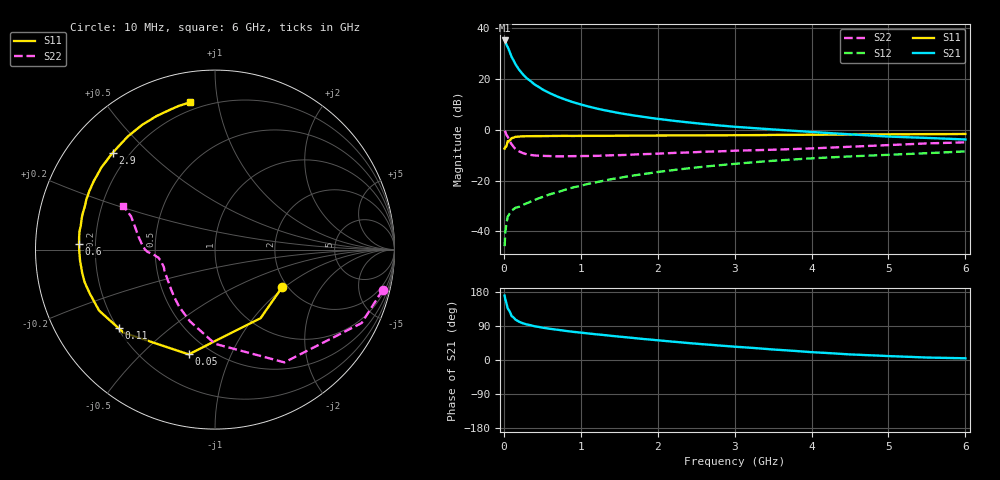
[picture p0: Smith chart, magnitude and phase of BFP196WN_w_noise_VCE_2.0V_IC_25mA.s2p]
! Infineon Technologies  Discrete & RF Semiconductors
! BFP196WN
! VCE =  2.0 V,  IC =  25 mA
! Common Emitter S-Parameters:  Jan 2017
# GHz  S  MA  R  50
!  f  S11  S21  S12  S22
! GHz  MAG  ANG  MAG  ANG  MAG  ANG  MAG  ANG
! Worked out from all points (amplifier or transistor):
!   77 points, 10 MHz to 6 GHz, reference 50 ohm
!   highest |S21| = 35.3 dB at 10 MHz (marker M1)
!   |S21| within 3 dB of that: start of sweep to 55.85 MHz
!   unconditionally stable (mu >= 1): 819.4 MHz to 2.843 GHz
!   at 130 MHz: K = 0.38, MSG = 29.2 dB, |S12| = -31.2 dB
!   at 2.2 GHz: K = 1.03, MAG = 8.7 dB, |S12| = -15.8 dB
!   at 6 GHz: K = 0.92, MSG = 2.4 dB, |S12| = -8.5 dB
!   lowest NFmin = 1.00 dB at 450 MHz
!   S11 on the Smith chart (normalised r, x): 10 MHz: 1.88, -0.96; 50 MHz: 0.39, -0.71; 110 MHz: 0.20, -0.34; 600 MHz: 0.14, +0.02; 2.9 GHz: 0.14, +0.39; 6 GHz: 0.16, +0.83
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0.01  0.4289 -29.2  58.07 170.1  0.0051 82.8  0.9609 -13.5
0.02  0.4587 -56.4  54.23 159.2  0.0098 73.0  0.9138 -26.6
0.05  0.6019 -104.1  43.11 136.0  0.0194 52.9  0.7378 -58.4
0.1  0.6882 -137.8  27.71 116.3  0.0254 42.3  0.5249 -90.0
0.11  0.6929 -140.8  26.1 114.8  0.0261 41.7  0.5006 -93.2
0.15  0.7297 -152.2  19.86 106.7  0.029 39.6  0.4231 -109.3
0.2  0.7391 -160.5  15.25 100.8  0.0306 40.7  0.3757 -122.1
0.25  0.7485 -165.8  12.37 96.7  0.0334 43.1  0.3485 -130.7
0.3  0.751 -169.7  10.4 93.7  0.0359 44.5  0.3299 -137.9
0.4  0.7544 -175.3  7.871 89.0  0.0415 49.7  0.3138 -146.8
0.5  0.7562 -179.3  6.316 85.4  0.0475 53.1  0.3078 -153.1
0.6  0.7585 177.6  5.278 82.3  0.0538 56.0  0.3051 -157.6
0.7  0.7601 174.8  4.521 79.7  0.0592 58.0  0.3014 -160.7
0.8  0.7619 172.2  3.963 76.9  0.0664 59.7  0.3022 -162.8
1.1  0.7636 165.9  2.894 70.0  0.0865 61.7  0.3064 -167.9
1.5  0.7694 158.8  2.146 61.7  0.1132 62.1  0.3183 -172.0
2.1  0.7761 148.7  1.585 50.2  0.1546 60.1  0.3458 -175.4
2.9  0.7843 136.5  1.189 36.7  0.2076 55.0  0.3833 -179.1
3.1  0.7866 133.5  1.126 33.8  0.2206 53.5  0.3925 179.3
4.1  0.8057 118.8  0.892 19.6  0.2798 45.4  0.4381 169.1
5.1  0.8184 107.8  0.73 9.6  0.3278 38.1  0.51 157.9
6  0.8319 99.8  0.648 4.5  0.3767 32.1  0.5685 154.6
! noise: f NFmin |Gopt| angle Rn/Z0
0.45  1  0.43  174  0.05
0.9  1.15  0.51  182  0.05
1.9  2.08  0.68  210  0.13
2.4  2.83  0.69  217  0.23
